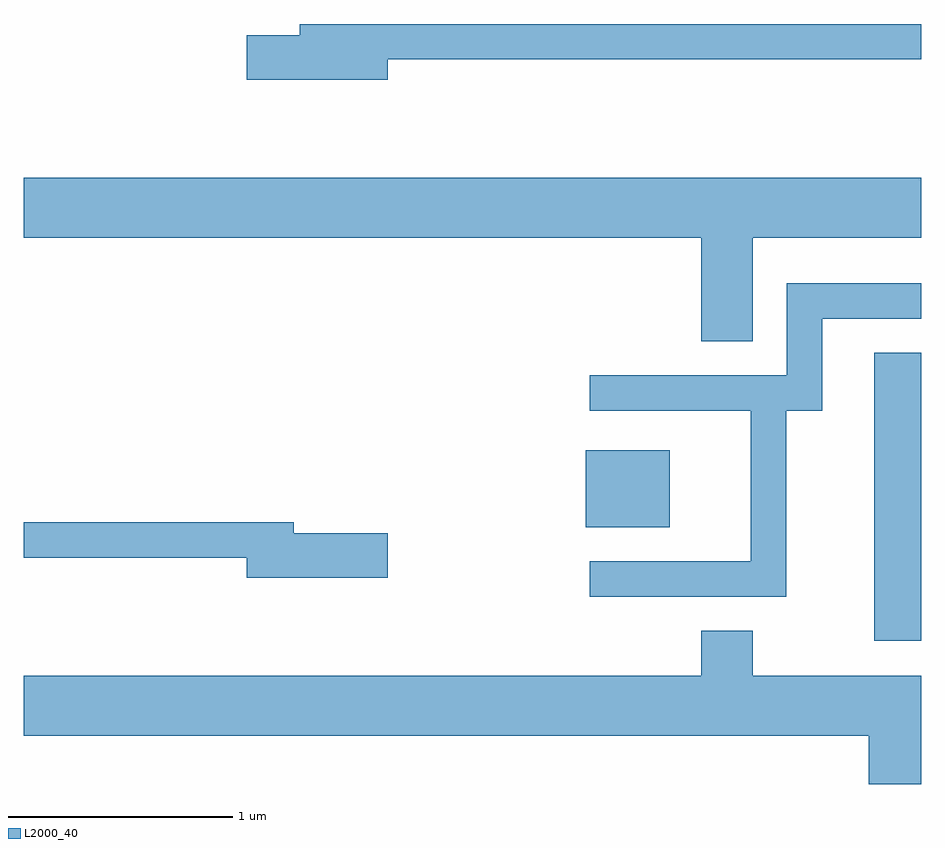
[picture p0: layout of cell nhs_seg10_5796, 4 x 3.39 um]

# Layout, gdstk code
import gdstk
lib = gdstk.Library(unit=1e-6, precision=1e-09)
def R(c, l, rs):  # rectangles x0, y0, x1, y1
    for r in rs: c.add(gdstk.rectangle(r[:2], r[2:], *l))
def P(c, l, *ps):  # polygons
    for p in ps: c.add(gdstk.Polygon(p, *l))
L2000_40 = (2000, 40)

nhs_seg10_5796 = lib.new_cell('nhs_seg10_5796')
R(nhs_seg10_5796, L2000_40, [(359.401,2183.161,359.611,2184.444), (358.116,2183.666,358.489,2184.009)])
P(nhs_seg10_5796, L2000_40, [(357.234,2185.751),(359.611,2185.751),(359.611,2185.909),(356.841,2185.909),(356.841,2185.859),(356.606,2185.859),(356.606,2185.661),(357.234,2185.661)],
  [(358.859,2184.956),(359.611,2184.956),(359.611,2185.224),(355.611,2185.224),(355.611,2184.956),(358.631,2184.956),(358.631,2184.496),(358.859,2184.496)],
  [(359.009,2184.186),(359.169,2184.186),(359.169,2184.596),(359.611,2184.596),(359.611,2184.754),(359.011,2184.754),(359.011,2184.344),(358.133,2184.344),(358.133,2184.186),(358.851,2184.186),(358.851,2183.514),(358.133,2183.514),(358.133,2183.356),(359.009,2183.356)],
  [(357.234,2183.639),(356.814,2183.639),(356.814,2183.689),(355.611,2183.689),(355.611,2183.531),(356.606,2183.531),(356.606,2183.441),(357.234,2183.441)],
  [(359.611,2183.004),(358.859,2183.004),(358.859,2183.204),(358.631,2183.204),(358.631,2183.004),(355.611,2183.004),(355.611,2182.736),(359.376,2182.736),(359.376,2182.522),(359.611,2182.522)])

lib.write_gds('nhs_seg10_5796.gds')
